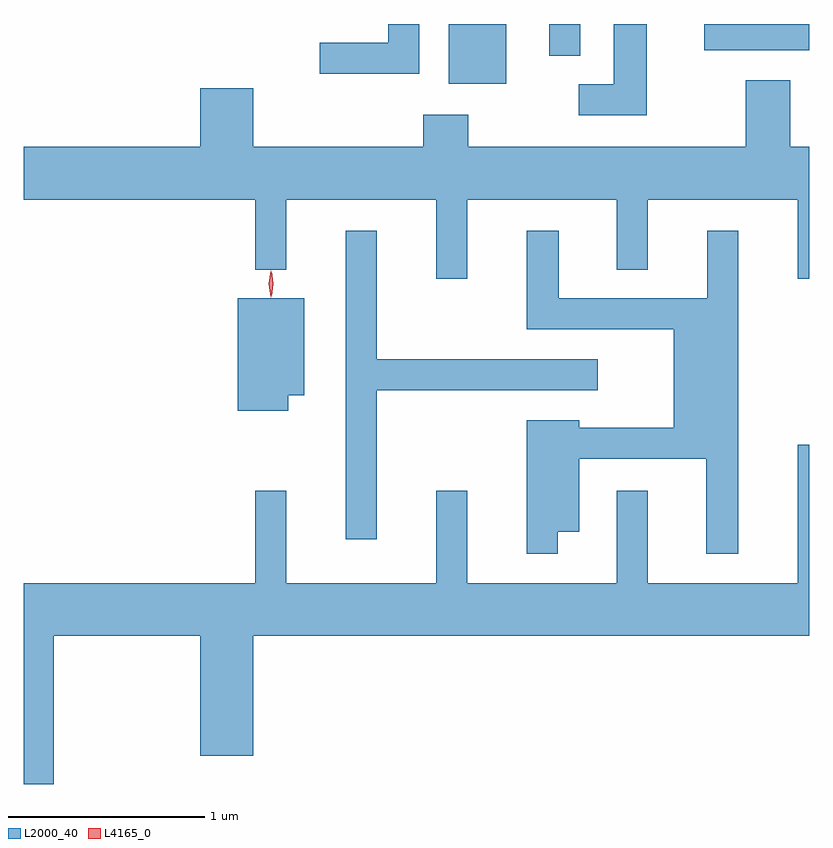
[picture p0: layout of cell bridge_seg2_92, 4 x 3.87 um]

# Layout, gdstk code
import gdstk
lib = gdstk.Library(unit=1e-6, precision=1e-09)
def R(c, l, rs):  # rectangles x0, y0, x1, y1
    for r in rs: c.add(gdstk.rectangle(r[:2], r[2:], *l))
def P(c, l, *ps):  # polygons
    for p in ps: c.add(gdstk.Polygon(p, *l))
L2000_40 = (2000, 40)
L4165_0 = (4165, 0)

bridge_seg2_92 = lib.new_cell('bridge_seg2_92')
R(bridge_seg2_92, L2000_40, [(1215.341,993.406,1215.634,993.71), (1215.851,993.548,1216.009,993.71), (1216.641,993.576,1217.176,993.71)])
P(bridge_seg2_92, L2000_40, [(1216.349,993.71),(1216.181,993.71),(1216.181,993.404),(1216.003,993.404),(1216.003,993.246),(1216.349,993.246)],
  [(1215.189,993.71),(1215.031,993.71),(1215.031,993.614),(1214.683,993.614),(1214.683,993.456),(1215.189,993.456)],
  [(1215.434,992.816),(1216.196,992.816),(1216.196,992.458),(1216.354,992.458),(1216.354,992.816),(1217.116,992.816),(1217.116,992.413),(1217.176,992.413),(1217.176,993.084),(1217.079,993.084),(1217.079,993.424),(1216.851,993.424),(1216.851,993.084),(1215.439,993.084),(1215.439,993.249),(1215.211,993.249),(1215.211,993.084),(1214.344,993.084),(1214.344,993.384),(1214.076,993.384),(1214.076,993.084),(1213.176,993.084),(1213.176,992.816),(1214.356,992.816),(1214.356,992.458),(1214.514,992.458),(1214.514,992.816),(1215.276,992.816),(1215.276,992.413),(1215.434,992.413)],
  [(1215.894,991.126),(1216.004,991.126),(1216.004,991.496),(1216.651,991.496),(1216.651,991.013),(1216.814,991.013),(1216.814,992.658),(1216.656,992.658),(1216.656,992.314),(1215.899,992.314),(1215.899,992.658),(1215.736,992.658),(1215.736,992.156),(1216.486,992.156),(1216.486,991.654),(1216.004,991.654),(1216.004,991.694),(1215.736,991.694),(1215.736,991.013),(1215.894,991.013)],
  [(1214.974,991.846),(1216.098,991.846),(1216.098,992.004),(1214.974,992.004),(1214.974,992.658),(1214.816,992.658),(1214.816,991.088),(1214.974,991.088)],
  [(1214.524,991.821),(1214.604,991.821),(1214.604,992.314),(1214.266,992.314),(1214.266,991.741),(1214.524,991.741)],
  [(1217.176,991.568),(1217.116,991.568),(1217.116,990.864),(1216.354,990.864),(1216.354,991.333),(1216.196,991.333),(1216.196,990.864),(1215.434,990.864),(1215.434,991.333),(1215.276,991.333),(1215.276,990.864),(1214.514,990.864),(1214.514,991.333),(1214.356,991.333),(1214.356,990.864),(1213.176,990.864),(1213.176,989.841),(1213.329,989.841),(1213.329,990.596),(1214.076,990.596),(1214.076,989.986),(1214.344,989.986),(1214.344,990.596),(1217.176,990.596)])
P(bridge_seg2_92, L4165_0, [(1214.434,992.318),(1214.434,992.319),(1214.424,992.387),(1214.434,992.454),(1214.435,992.455),(1214.435,992.454),(1214.444,992.386),(1214.434,992.319)],
  [(1214.439,992.322),(1214.438,992.323),(1214.428,992.387),(1214.438,992.451),(1214.438,992.451),(1214.439,992.451),(1214.448,992.387),(1214.439,992.323)])

lib.write_gds('bridge_seg2_92.gds')
